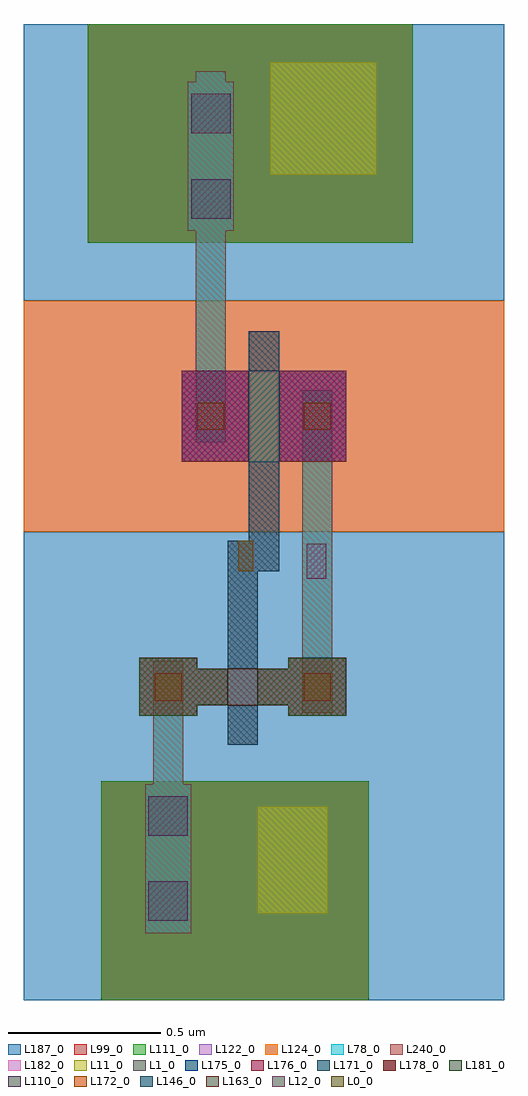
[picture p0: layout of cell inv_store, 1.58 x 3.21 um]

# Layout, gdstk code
import gdstk
lib = gdstk.Library(unit=1e-6, precision=1e-09)
def R(c, l, rs):  # rectangles x0, y0, x1, y1
    for r in rs: c.add(gdstk.rectangle(r[:2], r[2:], *l))
def P(c, l, *ps):  # polygons
    for p in ps: c.add(gdstk.Polygon(p, *l))
L0_0 = (0, 0)
L1_0 = (1, 0)
L11_0 = (11, 0)
L12_0 = (12, 0)
L78_0 = (78, 0)
L99_0 = (99, 0)
L110_0 = (110, 0)
L111_0 = (111, 0)
L122_0 = (122, 0)
L124_0 = (124, 0)
L146_0 = (146, 0)
L163_0 = (163, 0)
L171_0 = (171, 0)
L172_0 = (172, 0)
L175_0 = (175, 0)
L176_0 = (176, 0)
L178_0 = (178, 0)
L181_0 = (181, 0)
L182_0 = (182, 0)
L187_0 = (187, 0)
L240_0 = (240, 0)

inv_store = lib.new_cell('inv_store')
R(inv_store, L0_0, [(-7.71,-5.825,-7.66,-5.725)])
P(inv_store, L1_0, [(-7.575,-5.035),(-7.575,-5.825),(-7.645,-5.825),(-7.645,-6.395),(-7.745,-6.395),(-7.745,-5.725),(-7.675,-5.725),(-7.675,-5.035)])
R(inv_store, L11_0, [(-7.645,-6.95,-7.415,-6.6), (-7.605,-4.52,-7.255,-4.15)])
R(inv_store, L12_0, [(-7.485,-5.85,-7.42,-5.735)])
R(inv_store, L78_0, [(-7.5,-6.29,-7.4,-5.23)])
P(inv_store, L78_0, [(-7.89,-6.12),(-7.89,-6.525),(-7.865,-6.525),(-7.865,-7.015),(-8.015,-7.015),(-8.015,-6.525),(-7.99,-6.525),(-7.99,-6.12)],
  [(-7.75,-4.18),(-7.75,-4.215),(-7.725,-4.215),(-7.725,-4.705),(-7.75,-4.705),(-7.75,-5.4),(-7.85,-5.4),(-7.85,-4.705),(-7.875,-4.705),(-7.875,-4.215),(-7.85,-4.215),(-7.85,-4.18)])
R(inv_store, L99_0, [(-8.16,-7.235,-7.28,-6.515), (-8.205,-4.745,-7.135,-4.025)])
R(inv_store, L110_0, [(-8.005,-6.975,-7.875,-6.845), (-8.005,-6.695,-7.875,-6.565), (-7.865,-4.665,-7.735,-4.535), (-7.865,-4.385,-7.735,-4.255)])
R(inv_store, L111_0, [(-8.16,-7.235,-7.28,-6.515), (-8.205,-4.745,-7.135,-4.025)])
R(inv_store, L122_0, [(-8.415,-5.695,-6.835,-4.935)])
R(inv_store, L124_0, [(-8.415,-5.695,-6.835,-4.935)])
R(inv_store, L146_0, [(-7.675,-5.465,-7.575,-5.165)])
R(inv_store, L163_0, [(-7.745,-6.265,-7.645,-6.145)])
R(inv_store, L171_0, [(-7.745,-6.395,-7.645,-6.265), (-7.675,-5.165,-7.575,-5.035)])
P(inv_store, L171_0, [(-7.575,-5.465),(-7.575,-5.825),(-7.645,-5.825),(-7.645,-6.145),(-7.745,-6.145),(-7.745,-5.725),(-7.675,-5.725),(-7.675,-5.465)])
R(inv_store, L172_0, [(-7.985,-6.25,-7.895,-6.16), (-7.495,-6.25,-7.405,-6.16), (-7.845,-5.36,-7.755,-5.27), (-7.495,-5.36,-7.405,-5.27)])
R(inv_store, L175_0, [(-7.895,-5.465,-7.675,-5.165), (-7.575,-5.465,-7.355,-5.165)])
R(inv_store, L176_0, [(-7.895,-5.465,-7.675,-5.165), (-7.575,-5.465,-7.355,-5.165)])
P(inv_store, L178_0, [(-7.355,-6.11),(-7.355,-6.3),(-7.545,-6.3),(-7.545,-6.265),(-7.645,-6.265),(-7.645,-6.145),(-7.545,-6.145),(-7.545,-6.11)],
  [(-7.845,-6.11),(-7.845,-6.145),(-7.745,-6.145),(-7.745,-6.265),(-7.845,-6.265),(-7.845,-6.3),(-8.035,-6.3),(-8.035,-6.11)])
P(inv_store, L181_0, [(-7.355,-6.11),(-7.355,-6.3),(-7.545,-6.3),(-7.545,-6.265),(-7.645,-6.265),(-7.645,-6.145),(-7.545,-6.145),(-7.545,-6.11)],
  [(-7.845,-6.11),(-7.845,-6.145),(-7.745,-6.145),(-7.745,-6.265),(-7.845,-6.265),(-7.845,-6.3),(-8.035,-6.3),(-8.035,-6.11)])
R(inv_store, L182_0, [(-7.895,-5.465,-7.675,-5.165), (-7.575,-5.465,-7.355,-5.165)])
P(inv_store, L182_0, [(-7.355,-6.11),(-7.355,-6.3),(-7.545,-6.3),(-7.545,-6.265),(-7.645,-6.265),(-7.645,-6.145),(-7.545,-6.145),(-7.545,-6.11)],
  [(-7.845,-6.11),(-7.845,-6.145),(-7.745,-6.145),(-7.745,-6.265),(-7.845,-6.265),(-7.845,-6.3),(-8.035,-6.3),(-8.035,-6.11)])
R(inv_store, L187_0, [(-8.415,-7.235,-6.835,-5.695), (-8.415,-4.935,-6.835,-4.025)])
R(inv_store, L240_0, [(-7.5,-6.29,-7.4,-5.23)])
P(inv_store, L240_0, [(-7.89,-6.12),(-7.89,-6.525),(-7.865,-6.525),(-7.865,-7.015),(-8.015,-7.015),(-8.015,-6.525),(-7.99,-6.525),(-7.99,-6.12)],
  [(-7.75,-4.18),(-7.75,-4.215),(-7.725,-4.215),(-7.725,-4.705),(-7.75,-4.705),(-7.75,-5.4),(-7.85,-5.4),(-7.85,-4.705),(-7.875,-4.705),(-7.875,-4.215),(-7.85,-4.215),(-7.85,-4.18)])

lib.write_gds('inv_store.gds')
